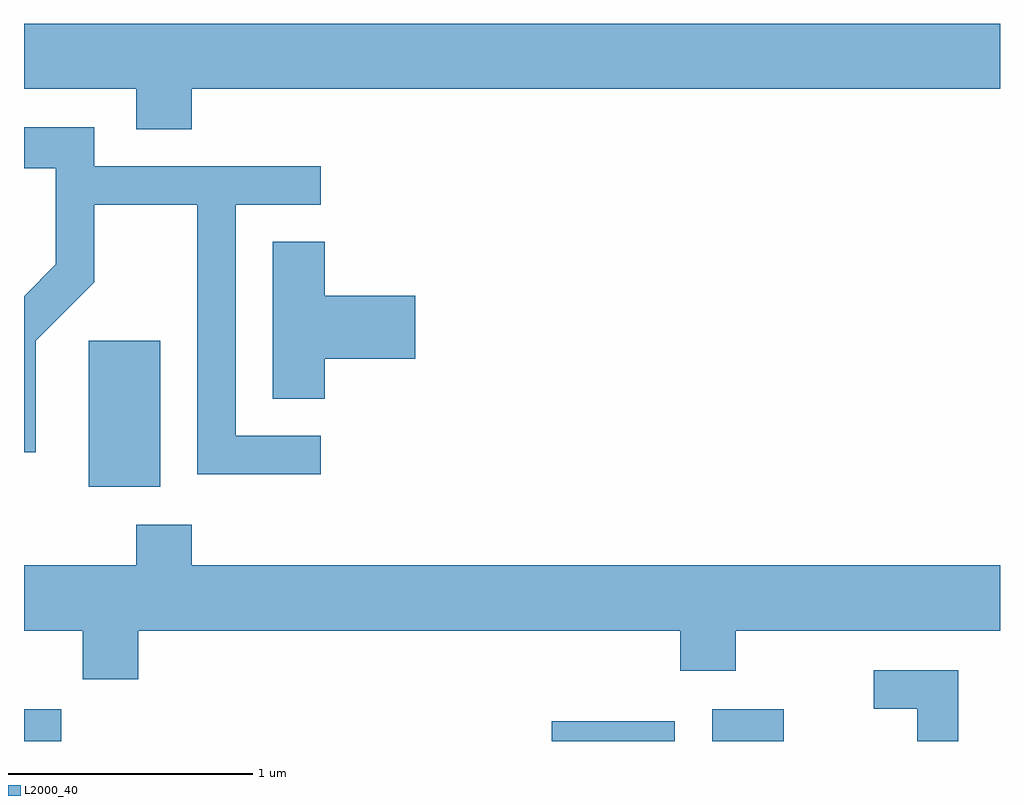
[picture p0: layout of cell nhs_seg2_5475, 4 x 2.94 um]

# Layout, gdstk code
import gdstk
lib = gdstk.Library(unit=1e-6, precision=1e-09)
def R(c, l, rs):  # rectangles x0, y0, x1, y1
    for r in rs: c.add(gdstk.rectangle(r[:2], r[2:], *l))
def P(c, l, *ps):  # polygons
    for p in ps: c.add(gdstk.Polygon(p, *l))
L2000_40 = (2000, 40)

nhs_seg2_5475 = lib.new_cell('nhs_seg2_5475')
R(nhs_seg2_5475, L2000_40, [(345.611,1107.802,345.764,1107.934), (347.773,1107.802,348.279,1107.884), (348.431,1107.802,348.724,1107.934), (345.876,1108.846,346.169,1109.444)])
P(nhs_seg2_5475, L2000_40, [(346.299,1110.476),(349.611,1110.476),(349.611,1110.744),(345.611,1110.744),(345.611,1110.476),(346.071,1110.476),(346.071,1110.311),(346.299,1110.311)],
  [(346.828,1109.054),(346.479,1109.054),(346.479,1110.001),(346.828,1110.001),(346.828,1110.159),(345.899,1110.159),(345.899,1110.319),(345.611,1110.319),(345.611,1110.151),(345.741,1110.151),(345.741,1109.757),(345.611,1109.627),(345.611,1108.988),(345.659,1108.988),(345.659,1109.444),(345.899,1109.684),(345.899,1110.001),(346.321,1110.001),(346.321,1108.896),(346.828,1108.896)],
  [(346.844,1109.371),(347.214,1109.371),(347.214,1109.629),(346.844,1109.629),(346.844,1109.849),(346.631,1109.849),(346.631,1109.206),(346.844,1109.206)],
  [(346.079,1108.256),(348.301,1108.256),(348.301,1108.091),(348.529,1108.091),(348.529,1108.256),(349.611,1108.256),(349.611,1108.524),(346.299,1108.524),(346.299,1108.689),(346.071,1108.689),(346.071,1108.524),(345.611,1108.524),(345.611,1108.256),(345.851,1108.256),(345.851,1108.056),(346.079,1108.056)],
  [(349.439,1108.094),(349.093,1108.094),(349.093,1107.936),(349.271,1107.936),(349.271,1107.802),(349.439,1107.802)])

lib.write_gds('nhs_seg2_5475.gds')
